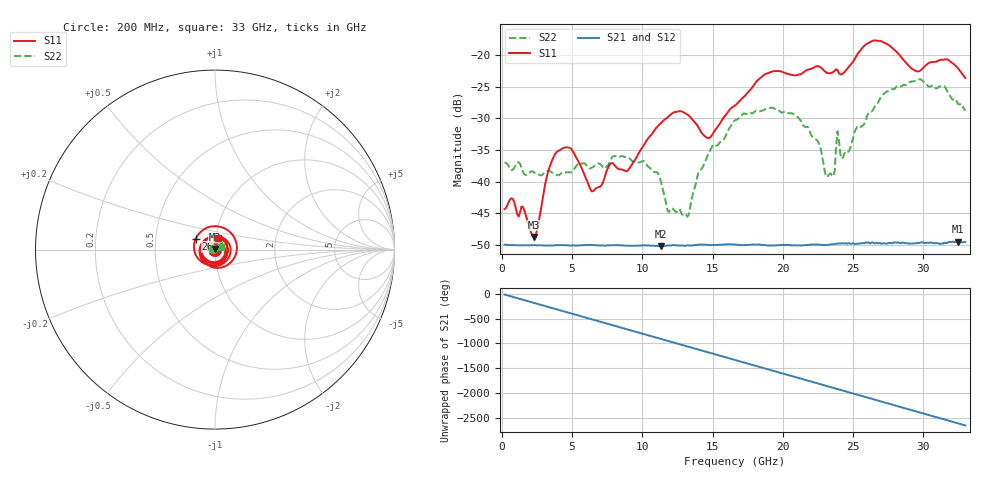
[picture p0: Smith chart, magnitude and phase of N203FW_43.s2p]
# GHZ S RI R 50
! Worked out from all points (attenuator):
!   329 points, 200 MHz to 33 GHz, reference 50 ohm
!   highest |S21| = -49.45 dB at 32.5 GHz (marker M1); lowest = -50.2 dB at 11.3 GHz (marker M2)
!   lowest |S11| = -48.7 dB at 2.3 GHz (marker M3), VSWR 1.01, Z = 50.2 + j0.325 ohm
!   |S11| at or under -10 dB: start of sweep to end of sweep
!   |S22| runs from -45.5 to -23.8 dB; largest |S21 - S12| = 8.7e-05
!   S11 on the Smith chart (normalised r, x): 200 MHz: 1.01, -0.00; 26 GHz: 0.80, +0.10; 33 GHz: 1.03, +0.13
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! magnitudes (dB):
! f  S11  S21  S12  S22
! 200 MHz  -44.3  -50.0  -49.9  -37.0
! 1.5 GHz  -43.9  -50.0  -50.0  -38.4
! 2.3 GHz  -48.7  -50.0  -50.0  -38.5
! 3.8 GHz  -35.6  -50.0  -50.0  -38.7
! 5.7 GHz  -37.9  -50.0  -50.0  -37.1
! 6.5 GHz  -41.5  -50.0  -50.0  -37.6
! 11.2 GHz  -31.0  -50.2  -50.1  -39.0
! 11.3 GHz  -30.8  -50.2  -50.1  -39.7
! 11.8 GHz  -29.8  -50.1  -50.1  -44.6
! 13.2 GHz  -29.3  -50.0  -50.1  -45.5
! 14.7 GHz  -33.1  -50.0  -50.0  -35.6
! 16.6 GHz  -28.0  -49.9  -49.9  -30.3
! 19.3 GHz  -22.5  -50.1  -50.1  -28.3
! 22.1 GHz  -22.1  -49.9  -49.9  -32.8
! 23.6 GHz  -22.7  -49.8  -49.8  -39.1
! 23.9 GHz  -22.4  -49.8  -49.8  -32.0
! 24.2 GHz  -23.0  -49.7  -49.7  -36.4
! 26 GHz  -18.2  -49.6  -49.6  -29.6
! 27.6 GHz  -18.5  -49.7  -49.7  -25.5
! 29.8 GHz  -22.4  -49.6  -49.7  -23.8
! 32.5 GHz  -22.1  -49.5  -49.4  -27.8
! 33 GHz  -23.6  -49.5  -49.6  -28.8
